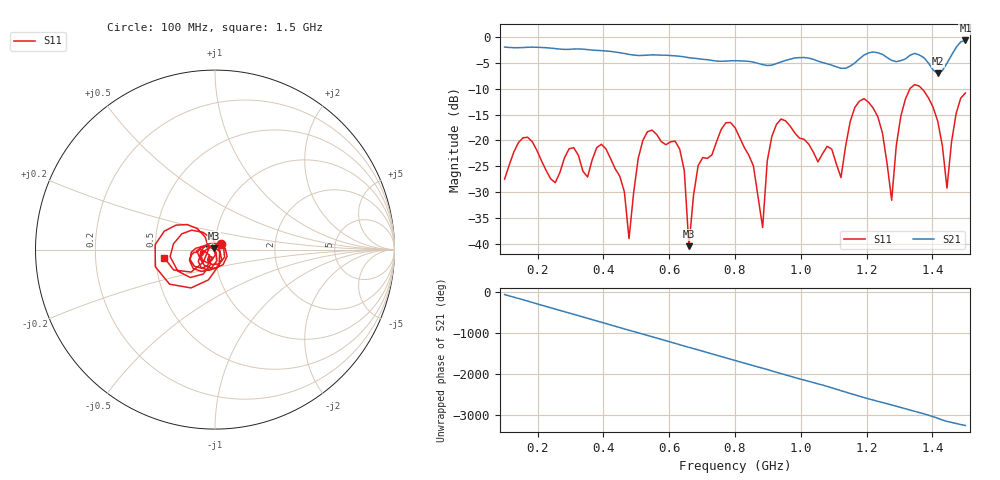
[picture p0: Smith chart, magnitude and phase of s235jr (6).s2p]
! NanoVNA-App
! Date: 2025-09-25 15:04:12
! Start: 100MHz Stop: 1,5GHz Points: 101
! S-Parameter data: F S11 S21 S12 S22
# Hz S RI R 50
!  Frequency  S11_Real  S11_Imag  S21_Real  S21_Imag  S12_Real  S12_Imag  S22_Real  S22_Imag
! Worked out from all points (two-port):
!   101 points, 100 MHz to 1.5 GHz, reference 50 ohm
!   highest |S21| = -0.69 dB at 1.5 GHz (marker M1); lowest = -7.1 dB at 1.416 GHz (marker M2)
!   |S21| within 3 dB of the highest: start of sweep to 622.7 MHz; 1.189 GHz to 1.255 GHz (66.55 MHz wide, 5.45 % of centre) (the widest 2 of 4)
!   lowest |S11| = -40.4 dB at 660 MHz (marker M3), VSWR 1.02, Z = 49.3 + j0.634 ohm
!   |S11| at or under -10 dB: start of sweep to 1.332 GHz; 1.367 GHz to end of sweep
!   S12 and S22 are empty: the file has one direction only
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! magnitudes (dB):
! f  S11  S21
! 100 MHz  -27.5  -2.0
! 170 MHz  -19.4  -2.0
! 338 MHz  -26.0  -2.4
! 408 MHz  -21.6  -2.7
! 478 MHz  -39.0  -3.4
! 520 MHz  -20.0  -3.6
! 576 MHz  -20.2  -3.5
! 632 MHz  -21.7  -3.7
! 660 MHz  -40.4  -4.0
! 688 MHz  -24.9  -4.2
! 800 MHz  -17.5  -4.6
! 884 MHz  -36.8  -5.4
! 926 MHz  -16.9  -5.1
! 1.038 GHz  -22.3  -4.3
! 1.122 GHz  -27.2  -6.1
! 1.192 GHz  -11.9  -3.5
! 1.248 GHz  -18.6  -3.4
! 1.276 GHz  -31.6  -4.5
! 1.332 GHz  -9.9  -3.5
! 1.416 GHz  -16.3  -7.1
! 1.444 GHz  -29.2  -5.1
! 1.5 GHz  -10.8  -0.7
